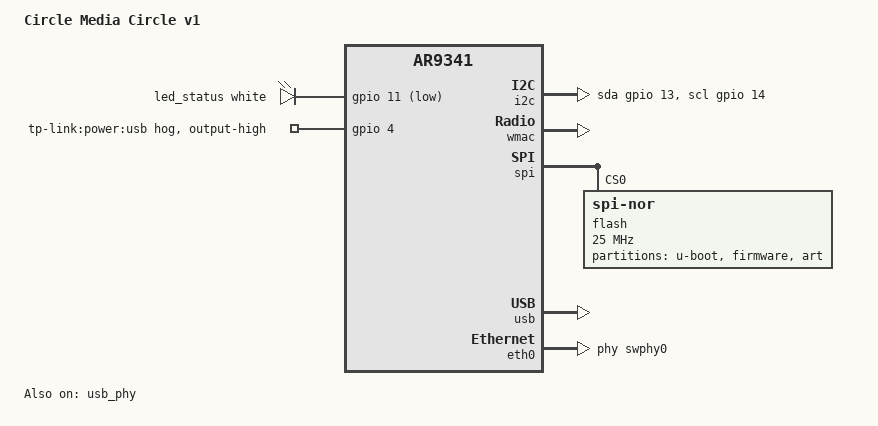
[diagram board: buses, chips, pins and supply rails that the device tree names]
// SPDX-License-Identifier: GPL-2.0-or-later OR MIT

#include <dt-bindings/leds/common.h>

#include "ar9341_tplink.dtsi"

/ {
	model = "Circle Media Circle v1";
	compatible = "circlemedia,circle-v1", "qca,ar9341";

	aliases {
		label-mac-device = &wmac;

		/*
		 * The shared ar9341_tplink.dtsi points these at the stock
		 * board's "power" LED, which this hardware does not have
		 * (confirmed: driving it produced no visible effect). Point
		 * them at the one real LED instead.
		 */
		led-boot = &led_status;
		led-failsafe = &led_status;
		led-running = &led_status;
		led-upgrade = &led_status;
	};

	/*
	 * No gpio-keys here. The stock TL-MR3420 v2 "rfkill"/"reset" GPIOs
	 * (16, 17) do not exist on this hardware (it has one physical
	 * button, the power button, which is read by the power supervisor,
	 * not by a plain SoC GPIO).
	 *
	 * GPIO 12 is deliberately left UNCLAIMED. It was once assumed to be
	 * the supervisor's "shutdown decided" output and modeled as a
	 * KEY_POWER button. Hardware tests (long holds of 9 and ~15 s with a
	 * fast register watcher and the kernel's button IRQ) never saw it go
	 * low before the supervisor cut power, so that role is not
	 * established; it may be something else, such as an interrupt line
	 * from the supervisor MCU. Until it is understood, nothing should
	 * drive or consume it (the donor "lan4" LED on this pin is disabled
	 * below). See circle_v1_gpio_findings.md.
	 */
};

/*
 * This hardware has exactly one physical LED (confirmed by testing all
 * nine stock LED positions one at a time: only GPIO 11 lit it). Seven of
 * the other eight inherited from ar9341_tplink.dtsi do not exist on this
 * board and are disabled below. GPIO 11 keeps its node name from the
 * shared dtsi (it cannot be renamed without forking it), but its
 * function/color/label now describe its real, confirmed role.
 *
 * "power" (GPIO 14) and "lan4" (GPIO 12) are disabled below too, but for
 * a different reason than the rest: neither is simply a nonexistent LED.
 *
 * Disassembling the real stock firmware's "ledd" binary (which this
 * donor dtsi's LED node names would otherwise suggest is a plain LED
 * daemon) shows it implements a software bit-banged I2C bus using
 * exactly GPIO 13 ("wlan", disabled separately below under &wmac) and
 * GPIO 14 ("power") as its SDA/SCL pair, talking to a battery/power
 * supervisor chip at I2C address 0x28 -- confirmed live (see
 * circle_v1_gpio_findings.md). See the `i2c` bus node below. GPIO 14 is
 * disabled here only to stop it being claimed as an LED output; the
 * real binding for both 13 and 14 is the `i2c-gpio` node below.
 *
 * GPIO 12 ("lan4") is not an LED either: it is wired to the power
 * supervisor, but its exact role is not established (see the note at the
 * top of this file). It is disabled as an LED so nothing drives it, and
 * is otherwise left unclaimed.
 */
&leds {
	power {
		status = "disabled";
	};

	qss {
		status = "disabled";
	};

	wan {
		status = "disabled";
	};

	lan1 {
		status = "disabled";
	};

	lan2 {
		status = "disabled";
	};

	lan3 {
		status = "disabled";
	};

	lan4 {
		status = "disabled";
	};

	led_status: usb {
		function = LED_FUNCTION_STATUS;
		color = <LED_COLOR_ID_WHITE>;
		gpios = <&gpio 11 GPIO_ACTIVE_LOW>;
	};
};

/* wlan is defined directly on &wmac in the shared dtsi, not under &leds. */
&wmac {
	led {
		status = "disabled";
	};
};

&gpio {
	usb_power {
		gpio-hog;
		gpios = <4 GPIO_ACTIVE_HIGH>;
		output-high;
		line-name = "tp-link:power:usb";
	};
};

/*
 * Software bit-banged I2C bus (GPIO 13 SDA, GPIO 14 SCL) to the power
 * supervisor, a small MCU-like device that ACKs at address 0x28 (see
 * circle_v1_gpio_findings.md). The bus is enabled so the device can be
 * probed from userspace (i2c-tools); NO client node is declared on
 * purpose: the chip is not identified, has no upstream driver and no
 * binding, so a node with a made-up compatible would be wrong for
 * submission. sda/scl roles are the live-confirmed assignment.
 */
/ {
	i2c {
		compatible = "i2c-gpio";
		sda-gpios = <&gpio 13 GPIO_ACTIVE_HIGH>;
		scl-gpios = <&gpio 14 GPIO_ACTIVE_HIGH>;
		i2c-gpio,delay-us = <50>;
		#address-cells = <1>;
		#size-cells = <0>;
	};
};

&spi {
	status = "okay";

	flash@0 {
		compatible = "jedec,spi-nor";
		reg = <0>;
		spi-max-frequency = <25000000>;

		partitions {
			compatible = "fixed-partitions";
			#address-cells = <1>;
			#size-cells = <1>;

			uboot: partition@0 {
				label = "u-boot";
				reg = <0x000000 0x020000>;
				read-only;

				nvmem-layout {
					compatible = "fixed-layout";
					#address-cells = <1>;
					#size-cells = <1>;

					macaddr_uboot_1fc00: macaddr@1fc00 {
						compatible = "mac-base";
						reg = <0x1fc00 0x6>;
						#nvmem-cell-cells = <1>;
					};
				};
			};

			partition@20000 {
				compatible = "tplink,firmware";
				label = "firmware";
				reg = <0x020000 0x7d0000>;
			};

			partition@7f0000 {
				label = "art";
				reg = <0x7f0000 0x010000>;
				read-only;

				nvmem-layout {
					compatible = "fixed-layout";
					#address-cells = <1>;
					#size-cells = <1>;

					cal_art_1000: calibration@1000 {
						reg = <0x1000 0x440>;
					};
				};
			};
		};
	};
};

&usb {
	status = "okay";
};

&usb_phy {
	status = "okay";
};

/*
 * The single physical jack is the AR9341 switch's PHY0 (swconfig port 1:
 * with the cable in, the switch ARL table learned the test Mac's address
 * on port 1 and only port 1 reported link). Setting the switch PHY swap
 * bit connects PHY0 directly to GMAC0 (eth0), as the stock firmware does
 * ("eth0 ... connected to PHY at ag71xx-mdio.1:00") and as the TP-Link
 * dtsi default does (swphy0). GMAC1 is kept from registering a netdev,
 * as ar9341_pisen_wmb001n.dts does.
 *
 * History: swphy4 was used first (copied from the Pisen board, which has
 * its jack on PHY4). With the swap bit set, PHY4 sits behind the switch,
 * so eth0 probed with the right MAC but carrier stayed 0 (hardware test).
 */
&eth0 {
	phy-handle = <&swphy0>;

	nvmem-cells = <&macaddr_uboot_1fc00 (-1)>;
	nvmem-cell-names = "mac-address";

	/*
	 * The ag71xx driver applies gmac-config when the node that holds it
	 * probes as an ethernet device. It must therefore live on eth0: under
	 * the syscon-only eth1 it is never read (hardware test: PHY0 stayed
	 * behind the switch and eth0 received nothing).
	 */
	gmac-config {
		device = <&gmac>;
		switch-phy-swap = <1>;
	};
};

&eth1 {
	compatible = "syscon", "simple-mfd";
};

&wmac {
	nvmem-cells = <&macaddr_uboot_1fc00 0>, <&cal_art_1000>;
	nvmem-cell-names = "mac-address", "calibration";
};
